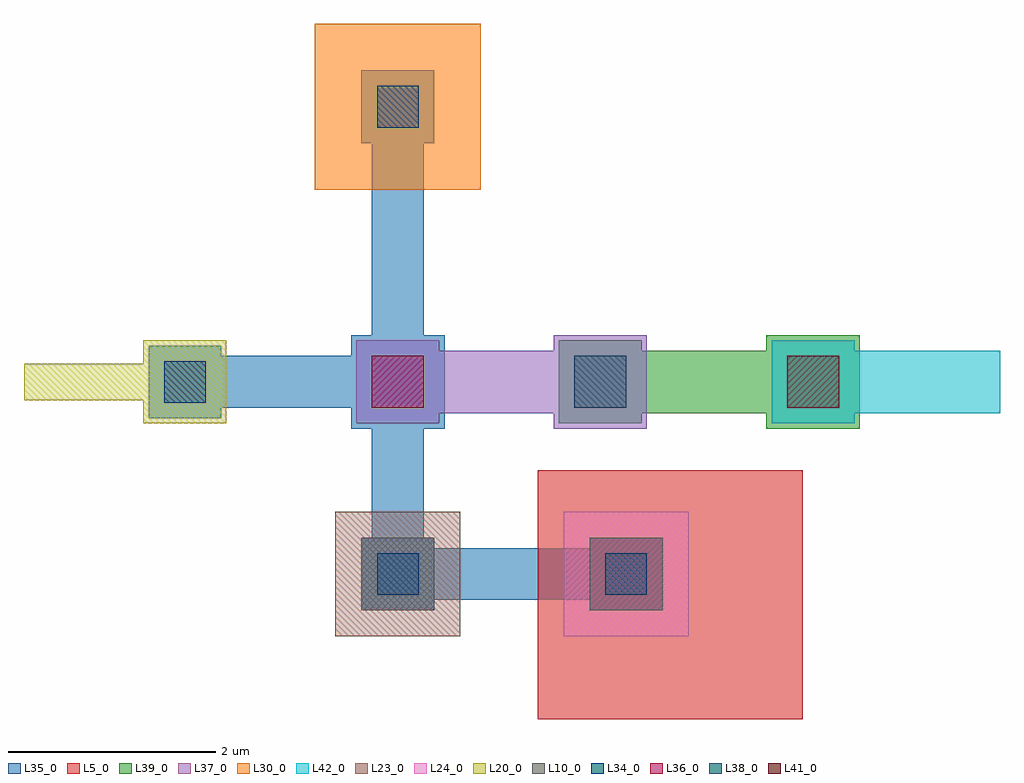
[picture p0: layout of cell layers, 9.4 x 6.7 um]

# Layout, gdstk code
import gdstk
lib = gdstk.Library(unit=1e-6, precision=1e-09)
def R(c, l, rs):  # rectangles x0, y0, x1, y1
    for r in rs: c.add(gdstk.rectangle(r[:2], r[2:], *l))
L5_0 = (5, 0)
L10_0 = (10, 0)
L20_0 = (20, 0)
L23_0 = (23, 0)
L24_0 = (24, 0)
L30_0 = (30, 0)
L34_0 = (34, 0)
L35_0 = (35, 0)
L36_0 = (36, 0)
L37_0 = (37, 0)
L38_0 = (38, 0)
L39_0 = (39, 0)
L41_0 = (41, 0)
L42_0 = (42, 0)

layers = lib.new_cell('layers')
R(layers, L5_0, [(4.95,1.9,7.5,4.3)])
R(layers, L10_0, [(3.25,2.95,3.95,3.65), (5.45,2.95,6.15,3.65)])
R(layers, L20_0, [(1.15,4.75,1.95,5.55)])
R(layers, L23_0, [(3,2.7,4.2,3.9)])
R(layers, L24_0, [(5.2,2.7,6.4,3.9)])
R(layers, L30_0, [(2.8,7,4.4,8.6)])
R(layers, L34_0, [(3.4,3.1,3.8,3.5), (5.6,3.1,6,3.5), (1.35,4.95,1.75,5.35), (3.4,7.6,3.8,8)])
R(layers, L35_0, [(3.25,2.95,3.95,3.65), (5.45,2.95,6.15,3.65), (3.15,4.7,4.05,5.6), (1.2,4.8,1.9,5.5), (3.25,7.45,3.95,8.15)])
R(layers, L36_0, [(3.35,4.9,3.85,5.4)])
R(layers, L37_0, [(5.1,4.7,6,5.6), (3.2,4.75,4,5.55)])
R(layers, L38_0, [(5.3,4.9,5.8,5.4)])
R(layers, L39_0, [(7.15,4.7,8.05,5.6), (5.15,4.75,5.95,5.55)])
R(layers, L41_0, [(7.35,4.9,7.85,5.4)])
R(layers, L42_0, [(7.2,4.75,8,5.55)])
layers.add(gdstk.FlexPath([(7.6,5.15),(9.4,5.15)], 0.6, ends="flush", simple_path=True, layer=42, datatype=0))  # L42_0
layers.add(gdstk.FlexPath([(5.55,5.15),(7.6,5.15)], 0.6, ends="flush", simple_path=True, layer=39, datatype=0))  # L39_0
layers.add(gdstk.FlexPath([(3.6,5.15),(5.55,5.15)], 0.6, ends="flush", simple_path=True, layer=37, datatype=0))  # L37_0
layers.add(gdstk.FlexPath([(3.6,5.15),(3.6,3.3)], 0.5, ends="flush", simple_path=True, layer=35, datatype=0))  # L35_0
layers.add(gdstk.FlexPath([(3.6,5.15),(3.6,7.8)], 0.5, ends="flush", simple_path=True, layer=35, datatype=0))  # L35_0
layers.add(gdstk.FlexPath([(1.55,5.15),(3.6,5.15)], 0.5, ends="flush", simple_path=True, layer=35, datatype=0))  # L35_0
layers.add(gdstk.FlexPath([(3.6,3.3),(6.15,3.3)], 0.5, ends="flush", simple_path=True, layer=35, datatype=0))  # L35_0
layers.add(gdstk.FlexPath([(0,5.15),(1.55,5.15)], 0.35, ends="flush", simple_path=True, layer=20, datatype=0))  # L20_0

lib.write_gds('layers.gds')
